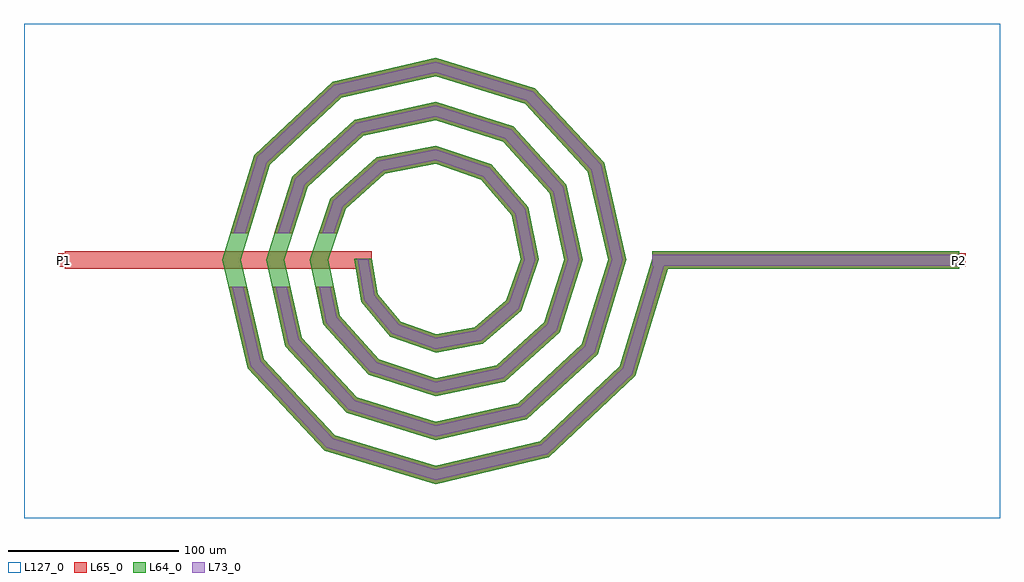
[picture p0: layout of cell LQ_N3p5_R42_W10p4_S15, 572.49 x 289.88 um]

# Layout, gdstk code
import gdstk
lib = gdstk.Library(unit=1e-6, precision=1e-09)
def R(c, l, rs):  # rectangles x0, y0, x1, y1
    for r in rs: c.add(gdstk.rectangle(r[:2], r[2:], *l))
def P(c, l, *ps):  # polygons
    for p in ps: c.add(gdstk.Polygon(p, *l))
L64_0 = (64, 0)
L65_0 = (65, 0)
L73_0 = (73, 0)
L127_0 = (127, 0)

lq_n3p5_r42_w10p4_s15 = lib.new_cell('LQ_N3p5_R42_W10p4_S15')
R(lq_n3p5_r42_w10p4_s15, L64_0, [(127.206,-5.2,307.206,5.2)])
P(lq_n3p5_r42_w10p4_s15, L64_0, [(-33.759,-20.046),(-20.302,-36.082),(0.439,-43.538),(23.203,-39.348),(41.613,-23.559),(49.958,0.388),(44.931,26.373),(26.807,47.152),(0.348,56.379),(-29.551,50.511),(-52.695,30.048),(-62.8,0.315),(-56.087,-32.735),(-33.284,-58.242),(0.288,-69.222),(35.924,-61.662),(63.792,-36.516),(75.644,0.265),(67.234,39.116),(39.744,69.343),(0.246,82.066),(-42.311,72.805),(-74.896,42.971),(-88.488,0.229),(-78.375,-45.508),(-46.195,-80.451),(0.214,-94.911),(48.708,-83.944),(86.006,-49.418),(101.334,0.201),(89.513,51.908),(52.64,91.562),(0.19,107.756),(-55.11,95.081),(-97.119,55.86),(-114.179,0.18),(-100.648,-58.313),(-59.08,-102.677),(0.171,-120.602),(61.517,-106.214),(108.235,-62.299),(127.426,1.498),(137.386,-1.498),(117.391,-67.966),(66.607,-115.703),(0.171,-131.364),(-64.762,-111.824),(-110.144,-63.388),(-124.941,0.18),(-106.256,61.558),(-60.168,104.587),(0.19,118.517),(58.356,100.688),(99.029,56.947),(112.094,0.201),(95.119,-55.154),(53.724,-93.473),(0.214,-105.67),(-51.954,-89.549),(-87.917,-50.5),(-99.247,0.229),(-83.979,48.756),(-47.274,82.362),(0.246,92.823),(45.559,78.407),(76.808,44.047),(86.399,0.265),(72.833,-42.365),(40.816,-71.255),(0.288,-79.975),(-39.174,-67.258),(-65.704,-37.582),(-73.551,0.315),(-61.68,35.986),(-34.343,60.156),(0.348,67.126),(32.804,56.098),(54.61,31.098),(60.701,0.388),(50.512,-29.629),(27.844,-49.068),(0.439,-54.274),(-26.463,-44.918),(-43.532,-24.578),(-47.608,0.881),(-37.358,0.881)])
R(lq_n3p5_r42_w10p4_s15, L65_0, [(-217.283,-5.2,-37.283,5.2), (127.206,-5.2,307.206,5.2), (-221.283,-4,-213.283,4), (303.206,-4,311.206,4)])
P(lq_n3p5_r42_w10p4_s15, L65_0, [(-100.648,-58.313),(-59.08,-102.677),(0.171,-120.602),(61.517,-106.215),(108.235,-62.299),(127.426,1.498),(137.386,-1.498),(117.391,-67.966),(66.607,-115.703),(0.171,-131.364),(-64.762,-111.824),(-110.145,-63.388),(-121.268,-15.6),(-110.59,-15.6)],
  [(-78.375,-45.509),(-46.195,-80.451),(0.214,-94.911),(48.708,-83.944),(86.006,-49.418),(101.334,0.201),(89.513,51.908),(52.64,91.562),(0.19,107.756),(-55.11,95.081),(-97.119,55.861),(-109.375,15.6),(-120.247,15.6),(-106.256,61.558),(-60.168,104.587),(0.19,118.517),(58.356,100.688),(99.029,56.947),(112.094,0.201),(95.119,-55.154),(53.724,-93.473),(0.214,-105.671),(-51.954,-89.55),(-87.917,-50.5),(-95.712,-15.6),(-85.055,-15.6)],
  [(-56.087,-32.735),(-33.284,-58.242),(0.288,-69.222),(35.924,-61.662),(63.792,-36.516),(75.644,0.265),(67.234,39.116),(39.744,69.343),(0.246,82.066),(-42.311,72.805),(-74.896,42.971),(-83.508,15.6),(-94.411,15.6),(-83.979,48.756),(-47.275,82.362),(0.246,92.823),(45.559,78.407),(76.808,44.047),(86.399,0.265),(72.833,-42.365),(40.816,-71.255),(0.288,-79.975),(-39.174,-67.258),(-65.704,-37.582),(-70.256,-15.6),(-59.635,-15.6)],
  [(-20.302,-36.082),(0.439,-43.538),(23.203,-39.348),(41.613,-23.559),(49.958,0.388),(44.931,26.373),(26.807,47.152),(0.348,56.379),(-29.551,50.511),(-52.695,30.048),(-57.503,15.6),(-68.464,15.6),(-61.68,35.986),(-34.343,60.156),(0.348,67.126),(32.804,56.098),(54.61,31.098),(60.701,0.388),(50.512,-29.629),(27.844,-49.069),(0.439,-54.274),(-26.463,-44.918),(-43.532,-24.578),(-47.608,0.881),(-37.359,0.881),(-33.759,-20.046)])
R(lq_n3p5_r42_w10p4_s15, L73_0, [(127.206,-3.2,307.206,3.2)])
P(lq_n3p5_r42_w10p4_s15, L73_0, [(-102.474,-59.289),(-60.173,-104.436),(0.105,-122.672),(62.496,-108.039),(109.996,-63.389),(129.342,0.922),(135.47,0.922),(115.63,-66.876),(65.628,-113.878),(0.105,-129.294),(-63.669,-110.065),(-108.318,-62.412),(-119.214,-15.6),(-112.643,-15.6)],
  [(-80.21,-46.468),(-47.303,-82.201),(0.132,-96.98),(49.672,-85.777),(87.759,-50.521),(103.403,0.124),(91.343,52.877),(53.739,93.317),(0.117,109.826),(-56.083,96.909),(-98.876,56.956),(-111.466,15.6),(-118.156,15.6),(-104.499,60.463),(-59.195,102.759),(0.117,116.448),(57.257,98.933),(97.199,55.978),(110.025,0.124),(93.367,-54.051),(52.759,-91.64),(0.132,-103.601),(-50.847,-87.8),(-86.082,-49.54),(-93.662,-15.6),(-87.105,-15.6)],
  [(-57.937,-33.667),(-34.416,-59.976),(0.177,-71.29),(36.865,-63.507),(65.531,-37.641),(77.712,0.163),(69.075,40.064),(40.863,71.086),(0.151,84.135),(-43.266,74.643),(-76.643,44.083),(-85.605,15.6),(-92.314,15.6),(-82.232,47.643),(-46.32,80.524),(0.151,90.755),(44.441,76.664),(74.967,43.098),(84.331,0.163),(71.095,-41.24),(39.875,-69.41),(0.177,-77.907),(-38.041,-65.524),(-63.855,-36.65),(-68.213,-15.6),(-61.678,-15.6)],
  [(-21.487,-37.781),(0.27,-45.603),(24.096,-41.217),(43.325,-24.727),(52.024,0.239),(46.793,27.281),(27.96,48.872),(0.214,58.445),(-30.472,52.366),(-54.423,31.19),(-59.611,15.6),(-66.356,15.6),(-59.952,34.844),(-33.421,58.301),(0.214,65.059),(31.651,54.378),(52.749,30.189),(58.635,0.239),(48.8,-28.462),(26.952,-47.199),(0.27,-52.21),(-25.278,-43.219),(-41.653,-23.707),(-45.637,0.542),(-39.33,0.542),(-35.639,-20.918)])
R(lq_n3p5_r42_w10p4_s15, L127_0, [(-241.283,-151.364,331.206,138.517)])
lq_n3p5_r42_w10p4_s15.add(gdstk.Label('P2', (307.206,0), layer=65, texttype=0))
lq_n3p5_r42_w10p4_s15.add(gdstk.Label('P1', (-217.283,0), layer=65, texttype=0))
lq_n3p5_r42_w10p4_s15.add(gdstk.Label('P2', (311.206,0), layer=145, texttype=0))
lq_n3p5_r42_w10p4_s15.add(gdstk.Label('P1', (-221.283,0), layer=145, texttype=0))

lib.write_gds('LQ_N3p5_R42_W10p4_S15.gds')
